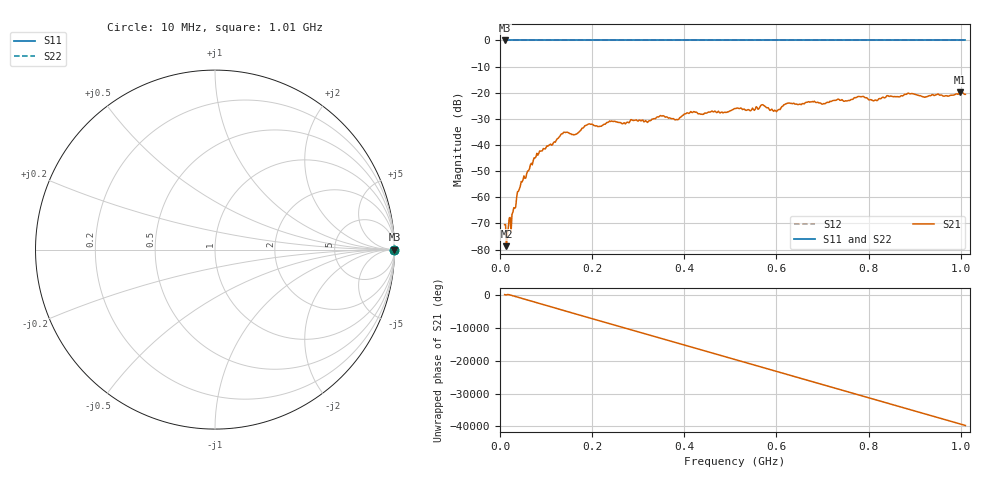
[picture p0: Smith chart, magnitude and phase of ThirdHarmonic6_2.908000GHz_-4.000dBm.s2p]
! 8/17/2025 8:03:16 AM
! C:\ANRITSUVNA\TEMP\TEMP.S2P
! CHANNEL.1
! TR.MEASUREMENT
! RAW.DATA
! RF.CORRECTION.OFF
! AVERAGING.OFF
! IF.BANDWIDTH: 5KHZ
! SWEEPTYPE:  FREQ.SWEEP(Linear)
! Reference Plane Port Info
! PORT:  PORT1  PORT2
! DISTANCE:  0  m  0  m
! TIME:  0  s  0  s
! PHASE.OFFSET:  0  deg.  0  deg.
! LOSS:  0  dB  0  dB
! REF.LOSS:  0  dB  0  dB
! REF.FREQ:  0  Hz  0  Hz
! Power Info
! POWER:  -20  dBm  -20  dBm
! EFF.POWER:  -20  dBm  -20  dBm
! SOURCE.ATTEN:  0  dB  0  dB
! TEST.ATTEN:  0  dB  0  dB
# GHZ S RI R 50.0
! FREQ.GHZ  S11RE  S11IM  S21RE  S21IM  S12RE  S12IM  S22RE  S22IM
!; PortSelection: Port_12
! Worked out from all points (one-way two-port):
!   501 points, 10 MHz to 1.01 GHz, reference 50 ohm
!   highest |S21| = -19.90 dB at 998 MHz (marker M1); lowest = -78.7 dB at 14 MHz (marker M2)
!   lowest |S11| = 0.0 dB at 10 MHz (marker M3)
!   |S11| at or under -10 dB: nowhere
!   |S22| runs from 0.0 to 0.0 dB; largest |S21 - S12| = 1.1
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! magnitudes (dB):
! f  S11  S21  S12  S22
! 10 MHz  0.0  -70.5  0.0  0.0
! 14 MHz  0.0  -78.7  0.0  0.0
! 28 MHz  0.0  -65.6  0.0  0.0
! 42 MHz  0.0  -56.8  0.0  0.0
! 76 MHz  0.0  -44.9  0.0  0.0
! 136 MHz  0.0  -35.7  0.0  0.0
! 164 MHz  0.0  -35.9  0.0  0.0
! 178 MHz  0.0  -33.5  0.0  0.0
! 194 MHz  0.0  -31.9  0.0  0.0
! 322 MHz  0.0  -30.9  0.0  0.0
! 344 MHz  0.0  -29.3  0.0  0.0
! 384 MHz  0.0  -30.2  0.0  0.0
! 418 MHz  0.0  -27.6  0.0  0.0
! 510 MHz  0.0  -26.0  0.0  0.0
! 570 MHz  0.0  -24.6  0.0  0.0
! 598 MHz  0.0  -26.9  0.0  0.0
! 624 MHz  0.0  -24.0  0.0  0.0
! 678 MHz  0.0  -23.4  0.0  0.0
! 814 MHz  0.0  -22.8  0.0  0.0
! 844 MHz  0.0  -21.4  0.0  0.0
! 998 MHz  0.0  -19.9  0.0  0.0
! 1.01 GHz  0.0  -20.6  0.0  0.0
